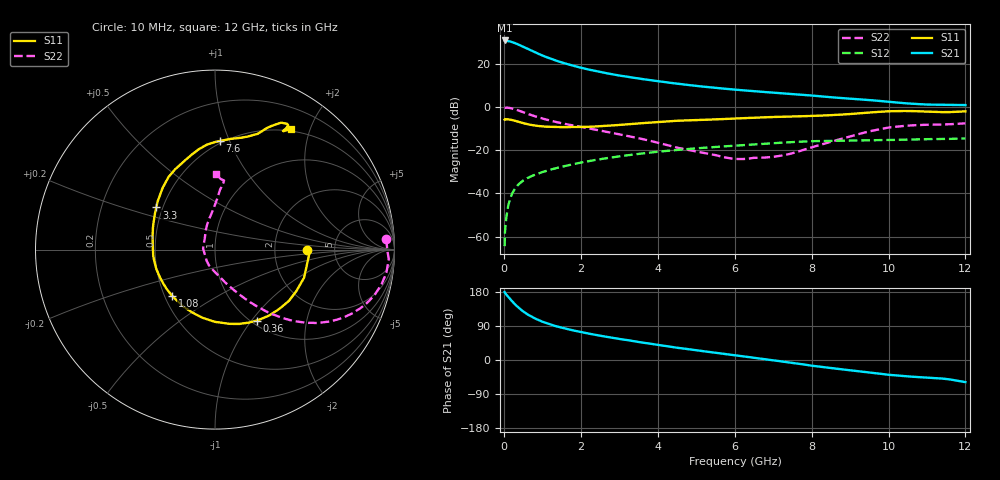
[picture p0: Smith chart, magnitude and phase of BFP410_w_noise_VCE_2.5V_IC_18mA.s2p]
! Infineon Technologies  Discrete & RF Semiconductors
! BFP410
! VCE =  2.5 V,  IC =  18 mA
! Common Emitter S-Parameters:  Nov 2015
# GHz  S  MA  R  50
!  f  S11  S21  S12  S22
! GHz  MAG  ANG  MAG  ANG  MAG  ANG  MAG  ANG
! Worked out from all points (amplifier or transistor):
!   243 points, 10 MHz to 12 GHz, reference 50 ohm
!   highest |S21| = 30.8 dB at 10 MHz (marker M1)
!   |S21| within 3 dB of that: start of sweep to 501.9 MHz
!   unconditionally stable (mu >= 1): start of sweep to 13.97 MHz; 1.928 GHz to end of sweep
!   at 240 MHz: K = 0.25, MSG = 34.4 dB, |S12| = -38.9 dB
!   at 1.84 GHz: K = 0.98, MSG = 22.6 dB, |S12| = -26.3 dB
!   at 12 GHz: K = 1.02, MAG = 6.8 dB, |S12| = -14.6 dB
!   lowest NFmin = 1.63 dB at 900 MHz
!   S11 on the Smith chart (normalised r, x): 10 MHz: 3.10, -0.03; 360 MHz: 1.06, -1.06; 1.08 GHz: 0.55, -0.32; 3.3 GHz: 0.46, +0.26; 7.6 GHz: 0.48, +0.92; 12 GHz: 0.47, +1.71
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0.01  0.512 -0.4  34.73 179.4  0.0006 108.1  0.9566 3.4
0.02  0.5252 -2.9  34.54 176.9  0.0013 93.3  0.9598 -0.2
0.055  0.5195 -9.2  34.07 172.5  0.0027 85.8  0.9689 -3.6
0.1  0.5202 -17.6  33.77 167.3  0.005 84.2  0.9636 -7.7
0.19  0.5022 -33.0  32.2 156.7  0.0091 77.6  0.9303 -14.7
0.3  0.475 -50.7  29.69 144.9  0.0135 72.0  0.872 -22.1
0.36  0.4583 -59.6  28.15 139.3  0.0157 69.6  0.8366 -25.5
0.5  0.4225 -78.4  24.63 127.7  0.02 65.2  0.754 -32.1
0.6  0.4026 -90.1  22.3 120.6  0.0225 63.0  0.7004 -35.7
0.7  0.3856 -100.8  20.26 114.8  0.0249 61.5  0.6524 -38.7
0.9  0.3632 -118.9  16.87 104.9  0.0293 59.5  0.5729 -43.3
1.08  0.3508 -132.5  14.51 98.0  0.0329 58.4  0.5156 -46.4
1.42  0.3433 -152.8  11.31 87.2  0.0398 56.9  0.4349 -51.0
2.02  0.3457 -178.4  8.026 73.3  0.0522 54.2  0.3438 -56.8
2.6  0.3646 162.0  6.199 62.2  0.064 50.5  0.2731 -62.5
3.3  0.4027 144.3  4.86 51.0  0.0782 45.3  0.2062 -70.4
4.1  0.4562 128.7  3.847 38.4  0.094 38.9  0.1415 -83.7
6.1  0.5451 103.7  2.482 11.2  0.129 21.9  0.0624 -161.4
7.6  0.6058 87.5  1.966 -9.1  0.1559 7.7  0.0901 128.3
8.2  0.6305 79.4  1.776 -17.5  0.1626 0.8  0.1315 111.4
10.2  0.8023 61.3  1.275 -40.7  0.1736 -15.5  0.3495 84.2
12  0.7939 58.0  1.107 -58.4  0.1867 -30.9  0.4186 89.1
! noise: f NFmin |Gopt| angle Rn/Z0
0.45  1.66  0.11  -153  0.17
0.9  1.63  0.12  -155  0.16
1.8  1.76  0.16  -140  0.17
2.4  1.75  0.21  -123  0.24
5.5  2.63  0.42  -104  0.39
10  3.74  0.69  -46  2.37
